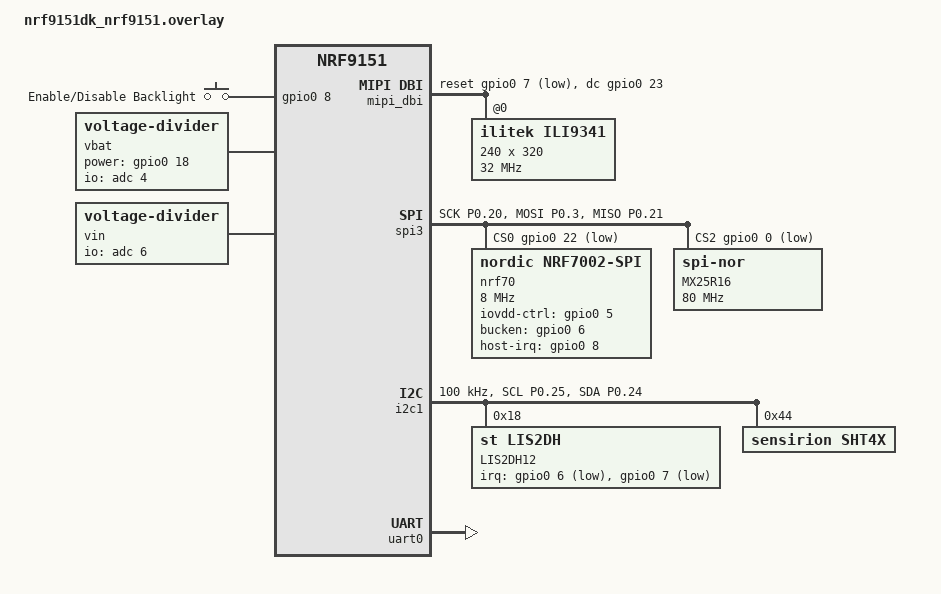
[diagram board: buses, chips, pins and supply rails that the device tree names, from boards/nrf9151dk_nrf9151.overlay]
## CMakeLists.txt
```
# SPDX-License-Identifier: Apache-2.0

cmake_minimum_required(VERSION 3.20.0)
find_package(Zephyr REQUIRED HINTS $ENV{ZEPHYR_BASE})
project(blinky)

target_sources(app PRIVATE src/main.c)

# Add the component DISPLAY
target_sources(app PRIVATE
    components/ILI9341_display/ili9341_display.c)
target_include_directories(app
    PRIVATE
    ${CMAKE_CURRENT_SOURCE_DIR}/components/ILI9341_display
)

# Add the component LIS2DH
target_sources(app PRIVATE
    components/lis2dh/lis2dh.c)
target_include_directories(app
    PRIVATE
    ${CMAKE_CURRENT_SOURCE_DIR}/components/lis2dh
)

# Add the component SHT4X
target_sources(app PRIVATE
    components/sht4x/sht4x.c)
target_include_directories(app
    PRIVATE
    ${CMAKE_CURRENT_SOURCE_DIR}/components/sht4x
)

# Add the component Flash
target_sources(app PRIVATE
    components/ext_flash/max25r16.c)
target_include_directories(app
    PRIVATE
    ${CMAKE_CURRENT_SOURCE_DIR}/components/ext_flash
)

# Add the component 
target_sources(app PRIVATE
    components/voltage_monitor/voltage_monitor.c)
target_include_directories(app
    PRIVATE
    ${CMAKE_CURRENT_SOURCE_DIR}/components/voltage_monitor
)

# Add the component 
target_sources(app PRIVATE
    components/WiFi/wifi.c)
target_include_directories(app
    PRIVATE
    ${CMAKE_CURRENT_SOURCE_DIR}/components/WiFi
)
```

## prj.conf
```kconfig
CONFIG_GPIO=y

CONFIG_LV_Z_SHELL=y
CONFIG_MAIN_STACK_SIZE=5048

CONFIG_DISPLAY=y
# CONFIG_DISPLAY_LOG_LEVEL_ERR=y

CONFIG_LOG=y
# CONFIG_SHELL=y

CONFIG_LVGL=y
# CONFIG_LV_MEM_CUSTOM=y
# CONFIG_LV_USE_LOG=y
CONFIG_LV_USE_LABEL=y
# CONFIG_LV_USE_BTN=y
CONFIG_LV_USE_IMG=y
CONFIG_LV_FONT_MONTSERRAT_14=y

CONFIG_LV_Z_MEM_POOL_SIZE=16384

CONFIG_LV_FONT_MONTSERRAT_20=y
# CONFIG_LV_FONT_MONTSERRAT_22=y
# CONFIG_LV_FONT_MONTSERRAT_28=y

CONFIG_PM_DEVICE=y

#RTT 
CONFIG_USE_SEGGER_RTT=y
CONFIG_RTT_CONSOLE=y
CONFIG_UART_CONSOLE=n

CONFIG_ILI9341=y

# CONFIG_DEBUG_INFO=y

# CONFIG_DEBUG=y
# CONFIG_DEBUG_OPTIMIZATIONS=y

# CONFIG_DEBUG_COREDUMP=y
# CONFIG_DEBUG_COREDUMP_BACKEND_LOGGING=y

CONFIG_I2C=y
CONFIG_SENSOR=y

CONFIG_SHT4X=y

#FLASH
# Core
CONFIG_FLASH=y
CONFIG_FLASH_MAP=y
CONFIG_FLASH_PAGE_LAYOUT=y

# LittleFS Filesystem
CONFIG_FILE_SYSTEM=y
CONFIG_FILE_SYSTEM_LITTLEFS=y

CONFIG_SPI=y
CONFIG_SPI_NOR=y
CONFIG_SPI_NOR_FLASH_LAYOUT_PAGE_SIZE=4096

CONFIG_NORDIC_QSPI_NOR=y
CONFIG_PM_EXTERNAL_FLASH_MCUBOOT_SECONDARY=n

# CONFIG_SETTINGS=y
# CONFIG_SETTINGS_FS=y
# CONFIG_SETTINGS_FS_DIR="/lfs/settings"
# CONFIG_SETTINGS_FS_FILE="/lfs/settings/run"





CONFIG_WIFI=y
CONFIG_WIFI_NRF70=y


# # WPA supplicant
CONFIG_WIFI_NM_WPA_SUPPLICANT=y
CONFIG_WIFI_READY_LIB=y
CONFIG_NRF_WIFI_RPU_RECOVERY=y

CONFIG_WIFI_MGMT_EXT=y
CONFIG_WIFI_CREDENTIALS=y
CONFIG_WIFI_CREDENTIALS_STATIC=y
CONFIG_WIFI_CREDENTIALS_STATIC_SSID="Enter Wifi SSID here"
CONFIG_WIFI_CREDENTIALS_STATIC_PASSWORD="Enter Wifi Password here"

# VOLTAGE MONITOR
CONFIG_ADC=y
# CONFIG_HEAP_MEM_POOL_SIZE=100

# # To Reduce RAM usage.
# CONFIG_SYSTEM_WORKQUEUE_STACK_SIZE=1024
# CONFIG_NET_TX_STACK_SIZE=1024
# CONFIG_NET_MGMT_EVENT_STACK_SIZE=1024

CONFIG_NET_IPV6=n
CONFIG_NET_DHCPV6=n
CONFIG_NET_SOCKETS_POSIX_NAMES=n

CONFIG_NET_BUF_RX_COUNT=4
CONFIG_NET_BUF_TX_COUNT=4
CONFIG_NET_PKT_RX_COUNT=4

#Enable Float
CONFIG_NEWLIB_LIBC=y
CONFIG_FPU=y
CONFIG_CBPRINTF_FP_SUPPORT=y



#new

# Networking

CONFIG_NETWORKING=y
CONFIG_NET_SOCKETS=y
# CONFIG_NET_LOG=y
CONFIG_NET_IPV4=y
CONFIG_NET_UDP=y
CONFIG_NET_TCP=y
CONFIG_NET_DHCPV4=y

CONFIG_NET_PKT_RX_COUNT=8
CONFIG_NET_PKT_TX_COUNT=8

# Below section is the primary contributor to SRAM and is currently
# tuned for performance, but this will be revisited in the future.
CONFIG_NET_BUF_RX_COUNT=8
CONFIG_NET_BUF_TX_COUNT=16
CONFIG_NRF70_RX_NUM_BUFS=16
CONFIG_HEAP_MEM_POOL_SIZE=120000
CONFIG_HEAP_MEM_POOL_IGNORE_MIN=y
CONFIG_NET_TC_TX_COUNT=1

CONFIG_NET_IF_UNICAST_IPV4_ADDR_COUNT=1
CONFIG_NET_MAX_CONTEXTS=5
CONFIG_NET_CONTEXT_SYNC_RECV=y

CONFIG_INIT_STACKS=y

# CONFIG_NET_L2_ETHERNET=y

CONFIG_NET_CONFIG_SETTINGS=y
CONFIG_NET_CONFIG_INIT_TIMEOUT=0

CONFIG_NET_SOCKETS_POLL_MAX=10

# # Memories
# CONFIG_MAIN_STACK_SIZE=5200
# CONFIG_NET_TX_STACK_SIZE=4096
# CONFIG_NET_RX_STACK_SIZE=4096
# CONFIG_STA_SAMPLE_START_WIFI_THREAD_STACK_SIZE=5200





# Logging
CONFIG_LOG=y
# CONFIG_LOG_BUFFER_SIZE=2048
# CONFIG_POSIX_CLOCK=y



# printing of scan results puts pressure on queues in new locking
# design in net_mgmt. So, use a higher timeout for a crowded
# environment.
# CONFIG_NET_MGMT_EVENT_QUEUE_TIMEOUT=5000

# CONFIG_BUILD_OUTPUT_STRIPPED=n
# CONFIG_LINK_STATS=y
# CONFIG_THREAD_ANALYZER=y

# To Reduce RAM usage.
# CONFIG_MAIN_STACK_SIZE=1024
# CONFIG_SYSTEM_WORKQUEUE_STACK_SIZE=1024
# CONFIG_NET_TX_STACK_SIZE=1024
# CONFIG_NET_MGMT_EVENT_STACK_SIZE=1024

# CONFIG_NET_IPV6=n
# CONFIG_NET_DHCPV6=n
# CONFIG_NET_SOCKETS_POSIX_NAMES=n

# CONFIG_NET_BUF_RX_COUNT=4
# CONFIG_NET_BUF_TX_COUNT=4
# CONFIG_NET_PKT_RX_COUNT=4
```

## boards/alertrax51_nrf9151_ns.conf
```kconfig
CONFIG_MODEM_ANTENNA=y
CONFIG_MODEM_ANTENNA_AT_MAGPIO="AT\%XMAGPIO=1,1,0,4,0,1710,2155,1,698,798,2,1850,1990,3,1570,1630"
CONFIG_MODEM_ANTENNA_LOG_LEVEL_DBG=y
```

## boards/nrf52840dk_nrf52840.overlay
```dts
#include <zephyr/dt-bindings/mipi_dbi/mipi_dbi.h>
#include <zephyr/dt-bindings/display/ili9xxx.h>
#include <zephyr/dt-bindings/input/input-event-codes.h>

&spi1 {
    status = "okay";
    cs-gpios = <&gpio1 15 GPIO_ACTIVE_LOW>;
};




/{
    chosen{
        zephyr,display = &ili9341;
    };

	CUSTOM_PINS_PCB {
        compatible = "gpio-keys";
        backlight:backlight{
            gpios = <&gpio1 8 GPIO_ACTIVE_HIGH >;   /*GPIO PIN P0.08 */
            label = "Enable/Disale Backlight";
        };
        
    };

    
    mipi_dbi {
    compatible = "zephyr,mipi-dbi-spi";
    reset-gpios = <&gpio0 28 GPIO_ACTIVE_LOW>;
    dc-gpios = <&gpio0 3 GPIO_ACTIVE_HIGH>;
	// cmd-data-gpios = <&gpio0 3 GPIO_ACTIVE_LOW>; 


    spi-dev = <&spi1>;
    #address-cells = <1>;
    #size-cells = <0>;

    ili9341: ili9341@0 {
        compatible = "ilitek,ili9341";
        reg = <0>;
        mipi-max-frequency = <32000000>;
       
		// reset-gpios = <&gpio0 28 GPIO_ACTIVE_LOW>;
	
		width = <240>;
		height = <320>;
	
		// pixel-format = "rgb565";
		rotation = <0>;
		// display-inversion = <0>;
	
		ifmode = [40];
		ifctl = [01 00 00];
		pwctrla = [39 2c 00 34 02];
		pwctrlb = [00 8b 30];
		pwseqctrl = [55 01 23 01];
		timctrla = [84 11 7a];
		timctrlb = [00 00];
		pumpratioctrl = [10];
		enable3g = [02];
		etmod = [06];
		gamset = [01];
		frmctr1 = [00 1b];
		disctrl = [0a 82 27 04];
		pwctrl1 = [21];
		pwctrl2 = [10];
		vmctrl1 = [31 3c];
		vmctrl2 = [c0];
	
		pgamctrl = [
			0f 22 1f 0a 0e 06 4d 76 3b 03 0e 04 13 0e 0c
		];
		ngamctrl = [
			0c 23 26 04 10 04 39 24 4b 03 0b 0b 33 37 0f
		];
        status = "okay";
        };
    };
};



/* NCS: 2.5.0 */

// /{
//     chosen{
//         zephyr,display = &ili9341;
//     };
// };

// &spi1 {
//     status = "okay";
//     cs-gpios = <&gpio1 15 GPIO_ACTIVE_LOW>;

//     ili9341: ili9341@0 {
// 		compatible = "ilitek,ili9341";
// 		reg = <0>;
// 		spi-max-frequency = <10000000>;
// 		label = "ILI9341";
	
// 		reset-gpios = <&gpio0 28 GPIO_ACTIVE_LOW>;
// 		cmd-data-gpios = <&gpio0 3 GPIO_ACTIVE_LOW>;
	
// 		width = <240>;
// 		height = <320>;
	
// 		// pixel-format = "rgb565";
// 		rotation = <0>;
// 		// display-inversion = <0>;
	
// 		ifmode = [40];
// 		ifctl = [01 00 00];
// 		pwctrla = [39 2c 00 34 02];
// 		pwctrlb = [00 8b 30];
// 		pwseqctrl = [55 01 23 01];
// 		timctrla = [84 11 7a];
// 		timctrlb = [00 00];
// 		pumpratioctrl = [10];
// 		enable3g = [02];
// 		etmod = [06];
// 		gamset = [01];
// 		frmctr1 = [00 1b];
// 		disctrl = [0a 82 27 04];
// 		pwctrl1 = [21];
// 		pwctrl2 = [10];
// 		vmctrl1 = [31 3c];
// 		vmctrl2 = [c0];
	
// 		pgamctrl = [
// 			0f 22 1f 0a 0e 06 4d 76 3b 03 0e 04 13 0e 0c
// 		];
// 		ngamctrl = [
// 			0c 23 26 04 10 04 39 24 4b 03 0b 0b 33 37 0f
// 		];
// 	};
// };

&pinctrl {
	spi1_default: spi1_default {
		group1 {
			psels = <NRF_PSEL(SPIM_SCK, 0, 31)>,
			        <NRF_PSEL(SPIM_MOSI, 0, 29)>,
			        <NRF_PSEL(SPIM_MISO, 0, 30)>;
		};
	};

	spi1_sleep: spi1_sleep {
		group1 {
			psels = <NRF_PSEL(SPIM_SCK, 0, 31)>,
			        <NRF_PSEL(SPIM_MOSI, 0, 29)>,
			        <NRF_PSEL(SPIM_MISO, 0, 30)>;
			low-power-enable;
		};
	};
};
```

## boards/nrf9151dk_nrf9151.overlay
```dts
#include <zephyr/dt-bindings/mipi_dbi/mipi_dbi.h>
#include <zephyr/dt-bindings/display/ili9xxx.h>
#include <zephyr/dt-bindings/input/input-event-codes.h>

/ {
    chosen {
        zephyr,display = &ili9341;
        zephyr,wifi = &wlan0;
    };

    aliases {
        // wifi0 = &nrf700x;
         lis2dh = &lis2dh12; 
    };

    CUSTOM_PINS_PCB {
        compatible = "gpio-keys";

        backlight: backlight {
            gpios = <&gpio0 8 GPIO_ACTIVE_HIGH>;   /* P0.08 for backlight */
            label = "Enable/Disable Backlight";
        };
    };
    // nordic_wlan0: nordic_wlan0 {
	// 	compatible = "nordic,wlan0";
	// 	status = "okay";
	// };

    mipi_dbi {
        compatible = "zephyr,mipi-dbi-spi";
        reset-gpios = <&gpio0 7 GPIO_ACTIVE_LOW>;  // Display reset
        dc-gpios = <&gpio0 23 GPIO_ACTIVE_HIGH>;   // Data/command select
        spi-dev = <&spi3>;

        #address-cells = <1>;
        #size-cells = <0>;

        ili9341: ili9341@0 {
            compatible = "ilitek,ili9341";
            reg = <0>;                             // CS index 0 (gpio0.22)
            mipi-max-frequency = <32000000>;

            width = <240>;
            height = <320>;
            rotation = <0>;

            ifmode = [40];
            ifctl = [01 00 00];
            pwctrla = [39 2c 00 34 02];
            pwctrlb = [00 8b 30];
            pwseqctrl = [55 01 23 01];
            timctrla = [84 11 7a];
            timctrlb = [00 00];
            pumpratioctrl = [10];
            enable3g = [02];
            etmod = [06];
            gamset = [01];
            frmctr1 = [00 1b];
            disctrl = [0a 82 27 04];
            pwctrl1 = [21];
            pwctrl2 = [10];
            vmctrl1 = [31 3c];
            vmctrl2 = [c0];

            pgamctrl = [
                0f 22 1f 0a 0e 06 4d 76 3b 03 0e 04 13 0e 0c
            ];
            ngamctrl = [
                0c 23 26 04 10 04 39 24 4b 03 0b 0b 33 37 0f
            ];

            status = "okay";
        };
    };
};

&spi3 {
    status = "okay";

    cs-gpios = <&gpio0 22 GPIO_ACTIVE_LOW>,   // CS0: Display
               <&gpio0 1 GPIO_ACTIVE_LOW>,    // CS1: nRF7002
               <&gpio0 0 GPIO_ACTIVE_LOW>;    // CS2: Flash

    pinctrl-0 = <&spi3_default>;
    pinctrl-1 = <&spi3_sleep>;
    pinctrl-names = "default", "sleep";

//     /* nRF7002 Wi-Fi */
   nrf70: nrf7002-spi@0 {
        compatible = "nordic,nrf7002-spi";
		status = "okay";
		reg = <0>;
		spi-max-frequency = <DT_FREQ_M(8)>;

		// Pin assignments for nrf7002 chip
        iovdd-ctrl-gpios = <&gpio0 5 GPIO_PULL_DOWN>;
        bucken-gpios = <&gpio0 6 (GPIO_ACTIVE_HIGH | GPIO_PULL_DOWN)>;
        host-irq-gpios = <&gpio0 8 GPIO_ACTIVE_HIGH>;
        // Short-range (SR) co-existence (disabled)
        //srrf-switch-gpios = <&gpio2 6 GPIO_ACTIVE_HIGH>;

        /* Maximum TX power limits for 2.4 GHz */
        wifi-max-tx-pwr-2g-dsss = <21>;
        wifi-max-tx-pwr-2g-mcs0 = <16>;
        wifi-max-tx-pwr-2g-mcs7 = <16>;

        /* List of interfaces */
        wlan0: wlan0 {
            compatible = "nordic,wlan";
        };

		wifi-max-tx-pwr-5g-low-mcs0 = <13>;
        wifi-max-tx-pwr-5g-low-mcs7 = <13>;
        wifi-max-tx-pwr-5g-mid-mcs0 = <13>;
        wifi-max-tx-pwr-5g-mid-mcs7 = <13>;
        wifi-max-tx-pwr-5g-high-mcs0 = <12>;
        wifi-max-tx-pwr-5g-high-mcs7 = <12>;
	};


    /* MX25R16 External SPI NOR Flash */
    mx25r16: mx25r16@2 {
        compatible = "jedec,spi-nor";
        reg = <2>;                                 // CS index 2
        spi-max-frequency = <80000000>;
        label = "MX25R16";
        jedec-id = [c2 28 15];
        size = <0x1000000>;                        // 2 MB
        has-dpd;
        t-enter-dpd = <10000>;                     // 10 us
        t-exit-dpd = <35000>;                      // 35 us
    };
};



&i2c1 {
    status = "okay";
    pinctrl-0 = <&i2c0_default>;
    pinctrl-1 = <&i2c0_sleep>;
    pinctrl-names = "default", "sleep";
    clock-frequency = <I2C_BITRATE_STANDARD>;

    lis2dh12: lis2dh@18 {
        compatible = "st,lis2dh";
        reg = <0x18>;  // LIS2DH I²C address when SDO/SA0 is LOW (your case)
        label = "LIS2DH12";
        irq-gpios = <&gpio0 6 GPIO_ACTIVE_LOW>, <&gpio0 7 GPIO_ACTIVE_LOW>;

    };
      sht4x: sht4x@44 {
        compatible="sensirion,sht4x";
        repeatability = <0>;
        reg = <0x44>;  // Check I2C address
        label = "SHT4X";
        // irq-gpios should only be included if needed
    };
};

&pinctrl {
    i2c0_default: i2c0_default {
        group1 {
            psels = <NRF_PSEL(TWIM_SCL, 0, 25)>,
                    <NRF_PSEL(TWIM_SDA, 0, 24)>;
        };
    };

    i2c0_sleep: i2c0_sleep {
        group1 {
            psels = <NRF_PSEL(TWIM_SCL, 0, 25)>,
                    <NRF_PSEL(TWIM_SDA, 0, 24)>;
            low-power-enable;
        };
    };

     spi3_default: spi3_default {
        group1 {
            psels = <NRF_PSEL(SPIM_SCK, 0, 20)>,
                    <NRF_PSEL(SPIM_MOSI, 0, 3)>,
                    <NRF_PSEL(SPIM_MISO, 0, 21)>;
        };
    };

    spi3_sleep: spi3_sleep {
        group1 {
            psels = <NRF_PSEL(SPIM_SCK, 0, 20)>,
                    <NRF_PSEL(SPIM_MOSI, 0, 3)>,
                    <NRF_PSEL(SPIM_MISO, 0, 21)>;
            low-power-enable;
        };
    };
};

&uart0 {
    status = "okay";
};

&spi0 {
    status = "disabled";
};

&spi1{
    status = "disabled";
};

&uart1{
    status="disabled";
};

/ {
	vbat:vbatt {
		compatible = "voltage-divider";
		io-channels = <&adc 4>;
		output-ohms = <100000>;
		full-ohms = <(100000 + 100000)>;
		power-gpios = <&gpio0 18 GPIO_ACTIVE_HIGH>;
	};
	vin:vin {
		compatible = "voltage-divider";
		io-channels = <&adc 6>;
		output-ohms = <12000>;
		full-ohms = <(100000 + 12000)>;
	};
};
```

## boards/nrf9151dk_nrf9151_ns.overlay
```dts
#include <zephyr/dt-bindings/mipi_dbi/mipi_dbi.h>
#include <zephyr/dt-bindings/display/ili9xxx.h>
#include <zephyr/dt-bindings/input/input-event-codes.h>

/ {
    chosen {
        zephyr,display = &ili9341;
        zephyr,wifi = &wlan0;
    };

    aliases {
        // wifi0 = &nrf700x;
        lis2dh = &lis2dh12;
    };

    CUSTOM_PINS_PCB {
        compatible = "gpio-keys";

        backlight: backlight {
            gpios = <&gpio0 8 GPIO_ACTIVE_HIGH>;   /* P0.08 for backlight */
            label = "Enable/Disable Backlight";
        };
    };
    // nordic_wlan0: nordic_wlan0 {
        //     compatible = "nordic,wlan0";
        //     status = "okay";
    // };

    mipi_dbi {
        compatible = "zephyr,mipi-dbi-spi";
        reset-gpios = <&gpio0 7 GPIO_ACTIVE_LOW>;  // Display reset
        dc-gpios = <&gpio0 23 GPIO_ACTIVE_HIGH>;   // Data/command select
        spi-dev = <&spi3>;

        #address-cells = <1>;
        #size-cells = <0>;

        ili9341: ili9341@0 {
            compatible = "ilitek,ili9341";
            reg = <0>;                             // CS index 0 (gpio0.22)
            mipi-max-frequency = <32000000>;

            width = <240>;
            height = <320>;
            rotation = <0>;

            ifmode = [ 40  ];
            ifctl = [ 01 00 00  ];
            pwctrla = [ 39 2c 00 34 02  ];
            pwctrlb = [ 00 8b 30  ];
            pwseqctrl = [ 55 01 23 01  ];
            timctrla = [ 84 11 7a  ];
            timctrlb = [ 00 00  ];
            pumpratioctrl = [ 10  ];
            enable3g = [ 02  ];
            etmod = [ 06  ];
            gamset = [ 01  ];
            frmctr1 = [ 00 1b  ];
            disctrl = [ 0a 82 27 04  ];
            pwctrl1 = [ 21  ];
            pwctrl2 = [ 10  ];
            vmctrl1 = [ 31 3c  ];
            vmctrl2 = [ c0  ];

            pgamctrl = [ 0f 22 1f 0a 0e 06 4d 76 3b 03 0e 04 13 0e 0c  ];
            ngamctrl = [ 0c 23 26 04 10 04 39 24 4b 03 0b 0b 33 37 0f  ];

            status = "okay";
        };
    };
};

&spi3 {
    status = "okay";

    cs-gpios = <&gpio0 22 GPIO_ACTIVE_LOW>,   // CS0: Display
    <&gpio0 1 GPIO_ACTIVE_LOW>,    // CS1: nRF7002
    <&gpio0 0 GPIO_ACTIVE_LOW>;    // CS2: Flash

    pinctrl-0 = <&spi3_default>;
    pinctrl-1 = <&spi3_sleep>;
    pinctrl-names = "default", "sleep";

    //     /* nRF7002 Wi-Fi */
    nrf70: nrf7002-spi@0 {
        compatible = "nordic,nrf7002-spi";
        status = "okay";
        reg = <0>;
        spi-max-frequency = <DT_FREQ_M(8)>;

        // Pin assignments for nrf7002 chip
        iovdd-ctrl-gpios = <&gpio0 5 GPIO_PULL_DOWN>;
        bucken-gpios = <&gpio0 6 (GPIO_ACTIVE_HIGH | GPIO_PULL_DOWN)>;
        host-irq-gpios = <&gpio0 8 GPIO_ACTIVE_HIGH>;
        // Short-range (SR) co-existence (disabled)
        //srrf-switch-gpios = <&gpio2 6 GPIO_ACTIVE_HIGH>;

        /* Maximum TX power limits for 2.4 GHz */
        wifi-max-tx-pwr-2g-dsss = <21>;
        wifi-max-tx-pwr-2g-mcs0 = <16>;
        wifi-max-tx-pwr-2g-mcs7 = <16>;

        /* List of interfaces */
        wlan0: wlan0 {
            compatible = "nordic,wlan";
        };

        wifi-max-tx-pwr-5g-low-mcs0 = <13>;
        wifi-max-tx-pwr-5g-low-mcs7 = <13>;
        wifi-max-tx-pwr-5g-mid-mcs0 = <13>;
        wifi-max-tx-pwr-5g-mid-mcs7 = <13>;
        wifi-max-tx-pwr-5g-high-mcs0 = <12>;
        wifi-max-tx-pwr-5g-high-mcs7 = <12>;
    };


    /* MX25R16 External SPI NOR Flash */
    mx25r16: mx25r16@2 {
        compatible = "jedec,spi-nor";
        reg = <2>;                                 // CS index 2
        spi-max-frequency = <80000000>;
        label = "MX25R16";
        jedec-id = [ c2 28 15  ];
        size = <0x1000000>;                        // 2 MB
        has-dpd;
        t-enter-dpd = <10000>;                     // 10 us
        t-exit-dpd = <35000>;                      // 35 us
    };
};



&i2c1 {
    status = "okay";
    pinctrl-0 = <&i2c0_default>;
    pinctrl-1 = <&i2c0_sleep>;
    pinctrl-names = "default", "sleep";
    clock-frequency = <I2C_BITRATE_STANDARD>;

    lis2dh12: lis2dh@18 {
        compatible = "st,lis2dh";
        reg = <0x18>;  // LIS2DH I²C address when SDO/SA0 is LOW (your case)
        label = "LIS2DH12";
        irq-gpios = <&gpio0 6 GPIO_ACTIVE_LOW>, <&gpio0 7 GPIO_ACTIVE_LOW>;

    };
    sht4x: sht4x@44 {
        compatible = "sensirion,sht4x";
        repeatability = <0>;
        reg = <0x44>;  // Check I2C address
        label = "SHT4X";
        // irq-gpios should only be included if needed
    };
};

&pinctrl {
    i2c0_default: i2c0_default {
        group1 {
            psels = <NRF_PSEL(TWIM_SCL, 0, 25)>,
                    <NRF_PSEL(TWIM_SDA, 0, 24)>;
        };
    };

    i2c0_sleep: i2c0_sleep {
        group1 {
            psels = <NRF_PSEL(TWIM_SCL, 0, 25)>,
                    <NRF_PSEL(TWIM_SDA, 0, 24)>;
            low-power-enable;
        };
    };

    spi3_default: spi3_default {
        group1 {
            psels = <NRF_PSEL(SPIM_SCK, 0, 20)>,
                    <NRF_PSEL(SPIM_MOSI, 0, 3)>,
                    <NRF_PSEL(SPIM_MISO, 0, 21)>;
        };
    };

    spi3_sleep: spi3_sleep {
        group1 {
            psels = <NRF_PSEL(SPIM_SCK, 0, 20)>,
                    <NRF_PSEL(SPIM_MOSI, 0, 3)>,
                    <NRF_PSEL(SPIM_MISO, 0, 21)>;
            low-power-enable;
        };
    };
};

&uart0 {
    status = "okay";
};

&spi0 {
    status = "disabled";
};

&spi1 {
    status = "disabled";
};

&uart1 {
    status = "disabled";
};

/ {
    vbat: vbatt {
        compatible = "voltage-divider";
        io-channels = <&adc 4>;
        output-ohms = <100000>;
        full-ohms = <200000>;   // 100k + 100k
        power-gpios = <&gpio0 18 GPIO_ACTIVE_HIGH>;
    };
    vin: vin {
        compatible = "voltage-divider";
        io-channels = <&adc 6>;
        output-ohms = <12000>;
        full-ohms = <112000>;   // 100k + 12k
    };
};
```

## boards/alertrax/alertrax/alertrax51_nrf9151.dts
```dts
/*
 * Copyright (c) 2018-2020 Nordic Semiconductor ASA
 * Copyright (c) 2020 Circuit Dojo LLC
 *
 * SPDX-License-Identifier: Apache-2.0
 */

/dts-v1/;
#include <nordic/nrf9151_laca.dtsi>
#include "alertrax_common.dtsi"

/ {
	chosen {
		zephyr,sram = &sram0_s;
		zephyr,flash = &flash0;
		zephyr,code-partition = &slot0_partition;
		zephyr,sram-secure-partition = &sram0_s;
		zephyr,sram-non-secure-partition = &sram0_ns;
		nordic,pm-ext-flash = &mx25r16;
	};
};

&uart0 {
	status = "okay";
	current-speed = <1000000>;
};

/* Include partition configuration file */
#include "alertrax51_nrf9151_partition_conf.dtsi"
```

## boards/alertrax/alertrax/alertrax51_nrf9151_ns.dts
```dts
/*
 * Copyright (c) 2018-2022 Nordic Semiconductor ASA
 * Copyright (c) 2022 NautAlert, LLC.
 *
 * SPDX-License-Identifier: Apache-2.0
 */

/dts-v1/;
#include <nordic/nrf9151ns_laca.dtsi>
#include "alertrax_common.dtsi"

/ {
	chosen {
		zephyr,flash = &flash0;
		zephyr,sram = &sram0_ns;
		zephyr,code-partition = &slot0_ns_partition;
	};
};

/* Disable UART1, because it is used by default in TF-M */
&uart1 {
	status = "disabled";
};

/* Include partition configuration file */
#include "alertrax51_nrf9151_partition_conf.dtsi"
```

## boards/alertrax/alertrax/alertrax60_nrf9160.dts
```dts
/*
 * Copyright (c) 2018-2020 Nordic Semiconductor ASA
 * Copyright (c) 2020 Circuit Dojo LLC
 *
 * SPDX-License-Identifier: Apache-2.0
 */

/dts-v1/;
#include <nordic/nrf9160_sica.dtsi>
#include "alertrax_common.dtsi"

/ {
	chosen {
		zephyr,sram = &sram0_s;
		zephyr,flash = &flash0;
		zephyr,code-partition = &slot0_partition;
		zephyr,sram-secure-partition = &sram0_s;
		zephyr,sram-non-secure-partition = &sram0_ns;
		nordic,pm-ext-flash = &mx25r16;
	};
};


&uart0 {
	status = "okay";
	current-speed = <1000000>;
};

/* Include partition configuration file */
#include "alertrax60_nrf9160_partition_conf.dtsi"
```

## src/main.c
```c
#include <zephyr/kernel.h>
#include <zephyr/device.h>
#include <zephyr/devicetree.h>
#include <math.h>
#include <stdio.h>

#include "../components/ILI9341_display/ili9341_display.h"
#include "../components/lis2dh/lis2dh.h"
#include "../components/sht4x/sht4x.h"
#include "../components/ext_flash/max25r16.h"
#include "../components/WiFi/wifi.h"
#include "../components/voltage_monitor/voltage_monitor.h"

#include <zephyr/logging/log.h>
LOG_MODULE_REGISTER(AlertraxTestFirmware);

// Function declarations
void test_sht4x(bool *ok);
void test_voltage(bool *ok);
void test_lis2dh(bool *ok);
void test_flash(bool *ok);

void main(void)
{
    ili9341_display_init(); // Initialize display and styles
    // display_text_at("Test Firmware", 10, 10);

    bool sht4x_ok = false;
    bool voltage_ok = false;
    bool lis2dh_ok = false;
    bool flash_ok = false;

    test_sht4x(&sht4x_ok);
    test_lis2dh(&lis2dh_ok);
    test_voltage(&voltage_ok);
    test_flash(&flash_ok);

    // --- Wi-Fi Connect ---
    if (sht4x_ok && voltage_ok && lis2dh_ok && flash_ok)
    {
        display_text_at("TESTS PASS", 100, 150);
        printk("All tests passed. Attempting Wi-Fi connection...\n");

        if (wifi_connect() == 0)
        {
            display_text_at("Wi-Fi:Connected ", 100, 180);
            printk("Wi-Fi connection successful.\n");
        }
        else
        {
            display_text_at("Wi-Fi: FAIL", 100, 180);
            printk("Wi-Fi connection failed.\n");
        }
    }
    else
    {
        display_text_at("TESTS FAIL", 100, 150);
        display_text_at("Wi-Fi: SKIPPED", 100, 180);
        printk("One or more tests failed. Skipping Wi-Fi connection.\n");   
    }
     while (1) {
        lv_task_handler();
        k_msleep(10);  // Every 10ms is enough
    }
   
}




void test_sht4x(bool *ok)
{
    *ok = false;
    bool sht4x_ready = initTemp();
    double temp = tempC();
    double hum = getHumidity();

    char buf[64];

    if (sht4x_ready && !isnan(temp) && !isnan(hum)) {
        *ok = true;
        printk("SHT4X OK: Temp=%.2f C, Hum=%.2f%%\n", temp, hum);
        display_text_at("SHT4X: OK", 0, 5);
        snprintf(buf, sizeof(buf), "Temp: %.2f C", temp);
        display_text_at(buf, 180, 5);
        snprintf(buf, sizeof(buf), "Humi: %.2f %%", hum);
        display_text_at(buf, 180, 30);
    } else {
        printk("SHT4X: FAIL\n");
        display_text_at("SHT4X: FAIL", 0, 5);
    }
}
void test_lis2dh(bool *ok)
{
    *ok = lis2dh_available();
    if (*ok) {
        display_text_at("LIS2DH: OK", 0, 40);
        printk("LIS2DH: OK\n");
    } else {
        display_text_at("LIS2DH: FAIL", 0, 40);
        printk("LIS2DH: FAIL\n");
    }
}


void test_voltage(bool *ok)
{
    *ok = false;
    double vin = get_vin_voltage();
    double vbat = get_vbat_voltage();
    char buf[32];

    if (!isnan(vin)) {
        *ok = true;
        snprintf(buf, sizeof(buf), "VIN: %.2f V", vin);
        display_text_at(buf, 180, 60);
        printk("%s\n", buf);
    } else {
        display_text_at("VIN:    FAIL", 180, 60);
        printk("VIN: Read failed\n");
    }

    if (!isnan(vbat)) {
        snprintf(buf, sizeof(buf), "VBAT: %.2f V", vbat);
        display_text_at(buf, 180, 90);
        printk("%s\n", buf);
    } else {
        display_text_at("VBAT: FAIL", 180, 90);
        printk("VBAT: Read failed\n");
        *ok = false;
    }
}





void test_flash(bool *ok)
{
    *ok = external_flash_available();
    if (*ok) {
        display_text_at("FLASH: OK", 0, 80);
        printk("FLASH: OK\n");
    } else {
        display_text_at("FLASH: FAIL", 0, 80);
        printk("FLASH: FAIL\n");
    }
}
```
